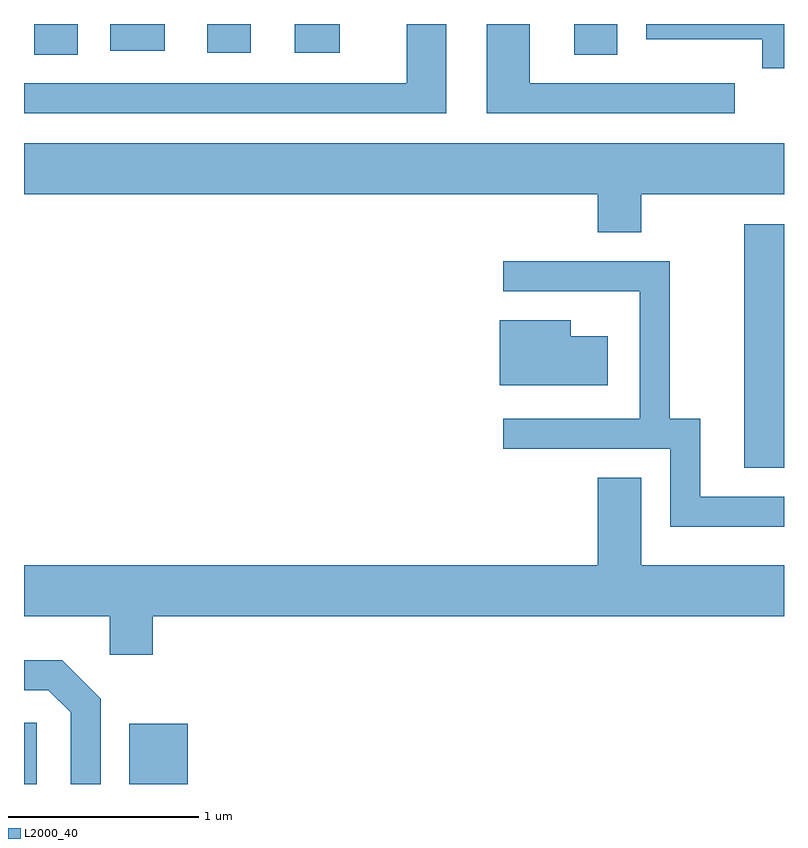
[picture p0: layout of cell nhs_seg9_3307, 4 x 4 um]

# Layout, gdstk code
import gdstk
lib = gdstk.Library(unit=1e-6, precision=1e-09)
def R(c, l, rs):  # rectangles x0, y0, x1, y1
    for r in rs: c.add(gdstk.rectangle(r[:2], r[2:], *l))
def P(c, l, *ps):  # polygons
    for p in ps: c.add(gdstk.Polygon(p, *l))
L2000_40 = (2000, 40)

nhs_seg9_3307 = lib.new_cell('nhs_seg9_3307')
R(nhs_seg9_3307, L2000_40, [(281.611,2046.432,281.679,2046.754), (282.166,2046.432,282.474,2046.749), (285.401,2048.096,285.611,2049.379), (281.666,2050.271,281.894,2050.432), (284.506,2050.271,284.734,2050.432), (282.576,2050.281,282.804,2050.432), (283.036,2050.281,283.273,2050.432), (282.066,2050.291,282.353,2050.432)])
P(nhs_seg9_3307, L2000_40, [(285.611,2050.432),(284.886,2050.432),(284.886,2050.351),(285.496,2050.351),(285.496,2050.198),(285.611,2050.198)],
  [(285.353,2050.119),(284.274,2050.119),(284.274,2050.432),(284.046,2050.432),(284.046,2049.961),(285.353,2049.961)],
  [(283.834,2050.432),(283.626,2050.432),(283.626,2050.119),(281.611,2050.119),(281.611,2049.961),(283.834,2049.961)],
  [(284.859,2049.536),(285.611,2049.536),(285.611,2049.804),(281.611,2049.804),(281.611,2049.536),(284.631,2049.536),(284.631,2049.336),(284.859,2049.336)],
  [(285.611,2047.944),(285.169,2047.944),(285.169,2048.354),(285.009,2048.354),(285.009,2049.184),(284.133,2049.184),(284.133,2049.026),(284.851,2049.026),(284.851,2048.354),(284.133,2048.354),(284.133,2048.196),(285.011,2048.196),(285.011,2047.786),(285.611,2047.786)],
  [(284.684,2048.789),(284.489,2048.789),(284.489,2048.874),(284.116,2048.874),(284.116,2048.531),(284.684,2048.531)],
  [(282.289,2047.316),(285.611,2047.316),(285.611,2047.584),(284.859,2047.584),(284.859,2048.044),(284.631,2048.044),(284.631,2047.584),(281.611,2047.584),(281.611,2047.316),(282.061,2047.316),(282.061,2047.111),(282.289,2047.111)],
  [(282.014,2046.882),(281.812,2047.084),(281.611,2047.084),(281.611,2046.926),(281.739,2046.926),(281.856,2046.809),(281.856,2046.432),(282.014,2046.432)])

lib.write_gds('nhs_seg9_3307.gds')
